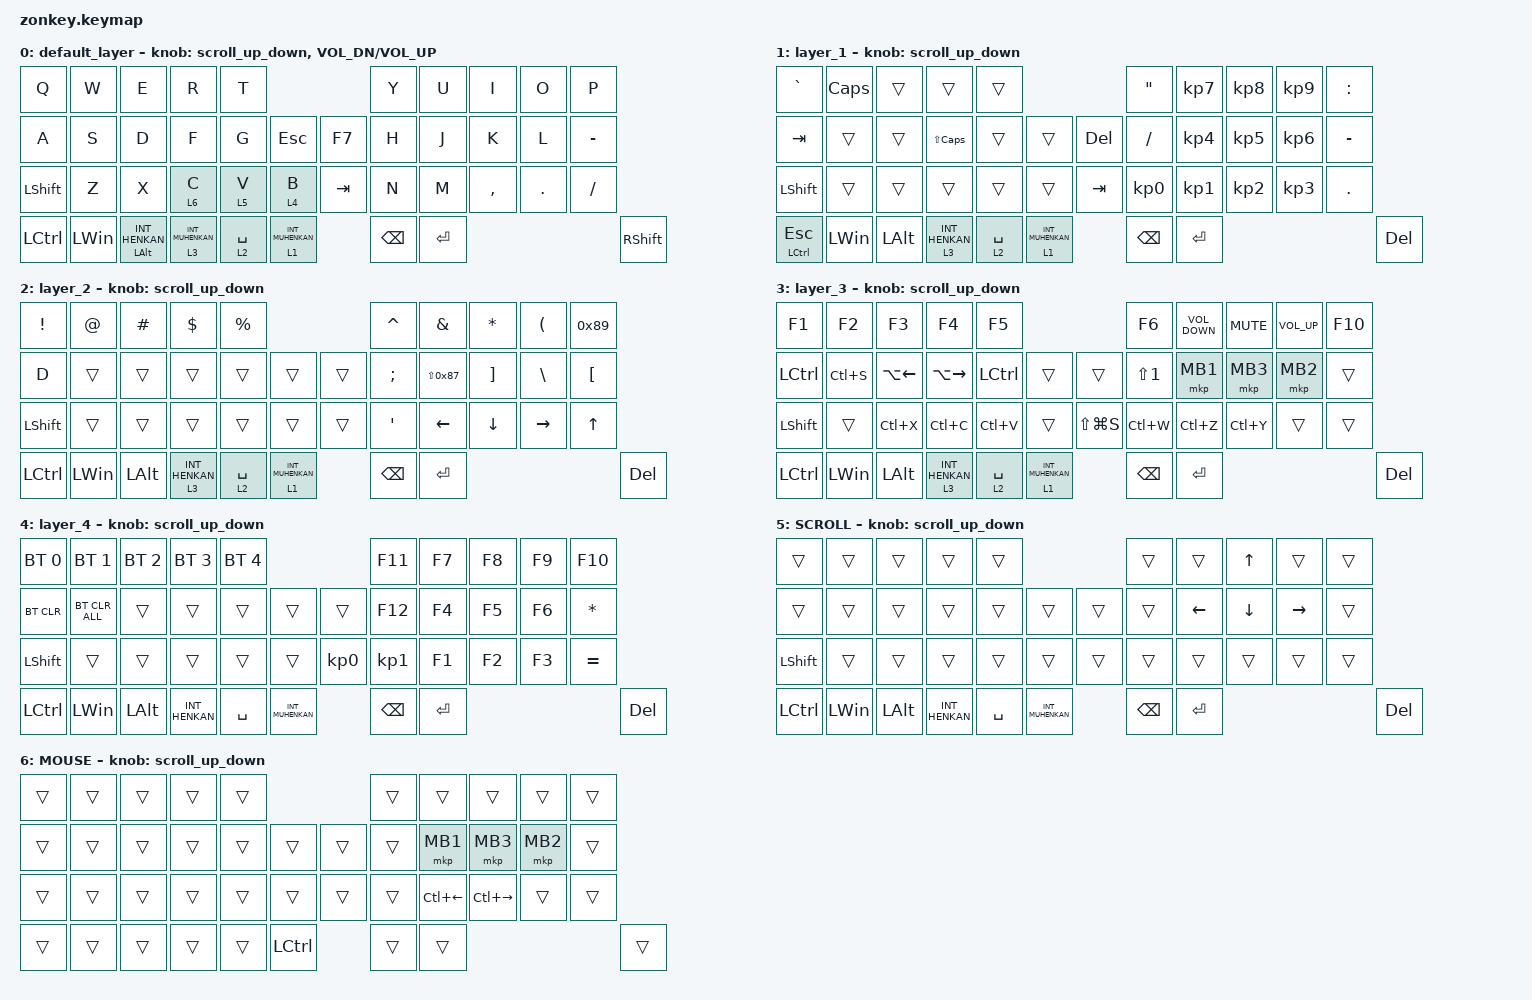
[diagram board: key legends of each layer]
#include <behaviors.dtsi>
#include <dt-bindings/zmk/bt.h>
#include <dt-bindings/zmk/keys.h>
#include <dt-bindings/zmk/pointing.h>

#define ZMK_POINTING_DEFAULT_SCRL_VAL 100
#define MOUSE 6
#define JP_DQUOTE       AT                // "
#define JP_AMPERSAND    CARET             // &
#define JP_QUOTE        AMPERSAND         // '
#define JP_EQUAL        UNDER             // =
#define JP_CARET        EQUAL             // ^
#define JP_YEN          0x89              // ¥
#define JP_PLUS         COLON             // +
#define JP_TILDE        PLUS              // ~
#define JP_PIPE         LS(0x89)          // |
#define JP_AT           LEFT_BRACKET      // @
#define JP_COLON        SINGLE_QUOTE      // :
#define JP_ASTERISK     DOUBLE_QUOTES     // *
#define JP_BACKQUOTE    LEFT_BRACE        // `
#define JP_UNDERSCORE   LS(0x87)          // _
#define JP_LBRACKET     RIGHT_BRACKET     // [
#define JP_RBRACKET     BACKSLASH         // ]
#define JP_LPAREN       ASTERISK          // (
#define JP_RPAREN       LEFT_PARENTHESIS  // )
#define JP_LBRACE       RIGHT_BRACE       // {
#define JP_RBRACE       PIPE              // }
#define JP_KANA         LANGUAGE_1        // かな
#define JP_EISU         LANGUAGE_2        // 英数
#define JP_HANZEN       GRAVE             // 半角/全角
#define JP_BSLH  INT1         // (backslash)

&mt {
    flavor = "balanced";
    quick-tap-ms = <0>;
};

/ {
    combos { compatible = "zmk,combos"; };

    mo2: mo2 {
        compatible = "zmk,behavior-mod-morph";
        #binding-cells = <0>;
        bindings = <&kp N2>, <&kp AT>;

        mods = <(MOD_LSFT|MOD_RSFT)>;
    };

    mo6: mo6 {
        compatible = "zmk,behavior-mod-morph";
        #binding-cells = <0>;
        bindings = <&kp N6>, <&kp CARET>;

        mods = <(MOD_LSFT|MOD_RSFT)>;
    };

    mo7: mo7 {
        compatible = "zmk,behavior-mod-morph";
        #binding-cells = <0>;
        bindings = <&kp N7>, <&kp AMPS>;

        mods = <(MOD_LSFT|MOD_RSFT)>;
    };

    mo8: mo8 {
        compatible = "zmk,behavior-mod-morph";
        #binding-cells = <0>;
        bindings = <&kp N8>, <&kp ASTRK>;

        mods = <(MOD_LSFT|MOD_RSFT)>;
    };

    mo9: mo9 {
        compatible = "zmk,behavior-mod-morph";
        #binding-cells = <0>;
        bindings = <&kp N9>, <&kp LPAR>;

        mods = <(MOD_LSFT|MOD_RSFT)>;
    };

    mo0: mo0 {
        compatible = "zmk,behavior-mod-morph";
        #binding-cells = <0>;
        bindings = <&kp N0>, <&kp LS(N9)>;

        mods = <(MOD_LSFT|MOD_RSFT)>;
    };

    moA: moA {
        compatible = "zmk,behavior-mod-morph";
        #binding-cells = <0>;
        bindings = <&kp MINUS>, <&kp UNDERSCORE>;

        mods = <(MOD_LSFT|MOD_RSFT)>;
    };

    moB: moB {
        compatible = "zmk,behavior-mod-morph";
        #binding-cells = <0>;
        bindings = <&kp EQUAL>, <&kp PLUS>;

        mods = <(MOD_LSFT|MOD_RSFT)>;
    };

    moC: moC {
        compatible = "zmk,behavior-mod-morph";
        #binding-cells = <0>;
        bindings = <&kp INT3>, <&kp JP_PIPE>;

        mods = <(MOD_LSFT|MOD_RSFT)>;
    };

    moD: moD {
        compatible = "zmk,behavior-mod-morph";
        #binding-cells = <0>;
        bindings = <&kp LBKT>, <&kp LBRC>;

        mods = <(MOD_LSFT|MOD_RSFT)>;
    };

    moE: moE {
        compatible = "zmk,behavior-mod-morph";
        #binding-cells = <0>;
        bindings = <&kp RBKT>, <&kp RBRC>;

        mods = <(MOD_LSFT|MOD_RSFT)>;
    };

    moF: moF {
        compatible = "zmk,behavior-mod-morph";
        #binding-cells = <0>;
        bindings = <&kp SEMI>, <&kp KP_PLUS>;

        mods = <(MOD_LSFT|MOD_RSFT)>;
    };

    moG: moG {
        compatible = "zmk,behavior-mod-morph";
        #binding-cells = <0>;
        bindings = <&kp APOSTROPHE>, <&kp DQT>;

        mods = <(MOD_LSFT|MOD_RSFT)>;
    };

    moH: moH {
        compatible = "zmk,behavior-mod-morph";
        #binding-cells = <0>;
        bindings = <&kp BACKSLASH>, <&kp TILDE2>;

        mods = <(MOD_LSFT|MOD_RSFT)>;
    };

    moI: moI {
        compatible = "zmk,behavior-mod-morph";
        #binding-cells = <0>;
        bindings = <&kp JP_BSLH>, <&kp JP_UNDERSCORE>;

        mods = <(MOD_LSFT|MOD_RSFT)>;
    };

    macros {
        to_layer_0: to_layer_0 {
            compatible = "zmk,behavior-macro-one-param";
            #binding-cells = <1>;
            bindings = <&to 0 &macro_param_1to1 &kp MACRO_PLACEHOLDER>;
            label = "TO_LAYER_0";
        };
    };

    behaviors {
        lt_to_layer_0: lt_to_layer_0 {
            compatible = "zmk,behavior-hold-tap";
            label = "LAYER_TAP_TO_0";
            bindings = <&mo>, <&to_layer_0>;

            #binding-cells = <2>;
            tapping-term-ms = <200>;
        };

        scroll_up_down: behavior_sensor_rotate_mouse_wheel_up_down {
            compatible = "zmk,behavior-sensor-rotate";
            #sensor-binding-cells = <0>;
            bindings = <&msc SCRL_DOWN>, <&msc SCRL_UP>;

            tap-ms = <20>;
        };
    };

    keymap {
        compatible = "zmk,keymap";

        default_layer {
            // -----------------------------------------------------------------------------------------
            // |  Q  |  W  |  E  |  R  |  T  |                        |  Y  |  U   |  I  |  O  |  P  | 
            // |  A  |  S  |  D  |  F  |  G  |LS(LG(S))|        　 | - |  H  |  J   |  K  |  L  |  `  | 
            // |SHIFT|  Z  |  X  |  C  |  V  |  B  |           | ; |  N  |  M   |  ,  |  .  |  /  | 
            // | CTRL | WIN | ALT |HENKAN|SPACE|MUHENKAN|       | BS | ENT |      　　　　       | DEL |           

            bindings = <
&kp Q           &kp W         &kp E                &kp R               &kp T                                       &kp Y          &kp U      &kp I      &kp O    &kp P
&kp A           &kp S         &kp D                &kp F               &kp G        &kp ESC               &kp F7   &kp H          &kp J      &kp K      &kp L    &kp MINUS
&kp LEFT_SHIFT  &kp Z         &kp X                &lt 6 C             &lt 5 V      &lt 4 B               &kp TAB  &kp N          &kp M      &kp COMMA  &kp DOT  &kp SLASH
&kp LCTRL       &kp LEFT_WIN  &mt LALT INT_HENKAN  &lt 3 INT_MUHENKAN  &lt 2 SPACE  &lt 1 INT_MUHENKAN             &kp BACKSPACE  &kp ENTER                                 &kp RSHFT
            >;

            sensor-bindings =
                <&scroll_up_down>,
                <&inc_dec_kp C_VOL_DN C_VOL_UP>;
        };

        layer_1 {
            // -----------------------------------------------------------------------------------------
            // | 半角/全角 |CAPS|     |     |     |                     |     |     |  -  |  ^  |  ¥  |
            // | TAB |     |     |     |     |     |              |    |     |     |     |  @  |  [  |
            // |SHIFT|     |     |     |     |     |            | 英数 | かな |     |     |     |  ]  |
            // | CTRL| WIN | ALT |HENKAN|SPACE|MUHENKAN|         | BS | ENT |                   | DEL |

            bindings = <
&kp GRAVE       &kp CAPS      &trans        &trans            &trans                                         &kp DQT          &kp KP_NUMBER_7  &kp KP_NUMBER_8  &kp KP_NUMBER_9  &kp COLON
&kp TAB         &trans        &trans        &kp LS(CAPS)      &trans       &trans                &kp DELETE  &kp SLASH        &kp KP_NUMBER_4  &kp KP_NUMBER_5  &kp KP_NUMBER_6  &kp MINUS
&kp LEFT_SHIFT  &trans        &trans        &trans            &trans       &trans                &kp TAB     &kp KP_NUMBER_0  &kp KP_NUMBER_1  &kp KP_NUMBER_2  &kp KP_NUMBER_3  &kp DOT
&mt LCTL ESC    &kp LEFT_WIN  &kp LEFT_ALT  &lt 3 INT_HENKAN  &lt 2 SPACE  &lt 1 INT_MUHENKAN                &kp BACKSPACE    &kp ENTER                                                     &kp DEL
            >;

            sensor-bindings = <&scroll_up_down>;
        };

        layer_2 {
            // -----------------------------------------------------------------------------------------
            // |  1  |  2  |  3  |  4  |  5  |                     |  6  |  7  |  8  |  9  |   0  |
            // |      |     |     |     |     |     |           |    |     |     |     |  ↑  |      |
            // |SHIFT|     |     |     |     |     |           |     |     |     |  ←  |  ↓  |  →  |
            // | CTRL| WIN | ALT |HENKAN|SPACE|MUHENKAN|         | BS | ENT |                   | DEL |

            bindings = <
&kp EXCL        &kp AT        &kp HASH      &kp DLLR          &kp PERCENT                                &kp CARET         &kp AMPERSAND   &kp ASTRK          &kp LPAR         &kp 0x89
&kp D           &trans        &trans        &trans            &trans       &trans                &trans  &kp SEMICOLON     &kp LS(0x87)    &kp RIGHT_BRACKET  &kp BSLH         &kp LEFT_BRACKET
&kp LEFT_SHIFT  &trans        &trans        &trans            &trans       &trans                &trans  &kp SINGLE_QUOTE  &kp LEFT_ARROW  &kp DOWN_ARROW     &kp RIGHT_ARROW  &kp UP_ARROW
&kp LCTRL       &kp LEFT_WIN  &kp LEFT_ALT  &lt 3 INT_HENKAN  &lt 2 SPACE  &lt 1 INT_MUHENKAN            &kp BACKSPACE     &kp ENTER                                                             &kp DEL
            >;

            sensor-bindings = <&scroll_up_down>;
        };

        layer_3 {
            // -----------------------------------------------------------------------------------------
            // | F1  | F2  | F3  | F4  | F5  |                     | F6  | F7 | F8  | F9 | F10 |
            // | F11 | F12 |     |     |     |     |           |    |     |     |     |     |      |
            // |SHIFT|     |     |     |     |     |           |     |     |     |     |     |      |
            // | CTRL| WIN | ALT |HENKAN|SPACE|MUHENKAN|         | BS | ENT |                   | DEL |

            bindings = <
&kp F1            &kp F2        &kp F3              &kp F4               &kp F5                                            &kp F6            &kp C_VOLUME_DOWN  &kp C_MUTE  &kp C_VOLUME_UP  &kp F10
&kp LEFT_CONTROL  &kp LC(S)     &kp LA(LEFT_ARROW)  &kp LA(RIGHT_ARROW)  &kp LCTRL    &trans                &trans         &kp LS(NUMBER_1)  &mkp MB1           &mkp MB3    &mkp MB2         &trans
&kp LEFT_SHIFT    &trans        &kp LC(X)           &kp LC(C)            &kp LC(V)    &trans                &kp LS(LG(S))  &kp LC(W)         &kp LC(Z)          &kp LC(Y)   &trans           &trans
&kp LCTRL         &kp LEFT_WIN  &kp LEFT_ALT        &lt 3 INT_HENKAN     &lt 2 SPACE  &lt 1 INT_MUHENKAN                   &kp BACKSPACE     &kp ENTER                                                &kp DEL
            >;

            sensor-bindings = <&scroll_up_down>;
        };

        layer_4 {
            // -----------------------------------------------------------------------------------------
            // | BT0 | BT1 | BT2 | BT3 | BT4 |                |  -  |  7  |  8  |  9  |  +  |
            // |BTCLR |     |     |     |     |     |           |  /  |  4  |  5  |  6  |  *  | 
            // |SHIFT|     |     |     |     |     |           |  0  |  1  |  2  |   3 |  .  |  =  |
            // | CTRL| WIN | ALT |HENKAN|SPACE|MUHENKAN|        | BS | ENT |                  | DEL |

            bindings = <
&bt BT_SEL 0    &bt BT_SEL 1    &bt BT_SEL 2  &bt BT_SEL 3    &bt BT_SEL 4                                       &kp F11          &kp F7     &kp F8  &kp F9  &kp F10
&bt BT_CLR      &bt BT_CLR_ALL  &trans        &trans          &trans        &trans              &trans           &kp F12          &kp F4     &kp F5  &kp F6  &kp ASTERISK
&kp LEFT_SHIFT  &trans          &trans        &trans          &trans        &trans              &kp KP_NUMBER_0  &kp KP_NUMBER_1  &kp F1     &kp F2  &kp F3  &kp EQUAL
&kp LCTRL       &kp LEFT_WIN    &kp LEFT_ALT  &kp INT_HENKAN  &kp SPACE     &kp INT_MUHENKAN                     &kp BACKSPACE    &kp ENTER                                &kp DEL
            >;

            sensor-bindings = <&scroll_up_down>;
        };

        SCROLL {
            // -----------------------------------------------------------------------------------------
            // |      |     |     |     |     |                     |     |     |     |     |      |
            // |      |     |     |     |     |     |           |    |     |     |     |     |      |
            // |SHIFT|     |     |     |     |     |          |     |     |     |     |     |      |
            // | CTRL| WIN | ALT |HENKAN|SPACE|MUHENKAN|        | BS | ENT |                  | DEL |

            bindings = <
&trans          &trans        &trans        &trans          &trans                                 &trans         &trans          &kp UP_ARROW    &trans           &trans
&trans          &trans        &trans        &trans          &trans     &trans              &trans  &trans         &kp LEFT_ARROW  &kp DOWN_ARROW  &kp RIGHT_ARROW  &trans
&kp LEFT_SHIFT  &trans        &trans        &trans          &trans     &trans              &trans  &trans         &trans          &trans          &trans           &trans
&kp LCTRL       &kp LEFT_WIN  &kp LEFT_ALT  &kp INT_HENKAN  &kp SPACE  &kp INT_MUHENKAN            &kp BACKSPACE  &kp ENTER                                                &kp DEL
            >;

            sensor-bindings = <&scroll_up_down>;
        };

        MOUSE {
            bindings = <
&trans  &trans  &trans  &trans  &trans                              &trans  &trans              &trans         &trans    &trans
&trans  &trans  &trans  &trans  &trans  &trans              &trans  &trans  &mkp MB1            &mkp MB3       &mkp MB2  &trans
&trans  &trans  &trans  &trans  &trans  &trans              &trans  &trans  &kp LC(LEFT_ARROW)  &kp LC(RIGHT)  &trans    &trans
&trans  &trans  &trans  &trans  &trans  &kp LEFT_CONTROL            &trans  &trans                                               &trans
            >;

            sensor-bindings = <&scroll_up_down>;
        };
    };
};
